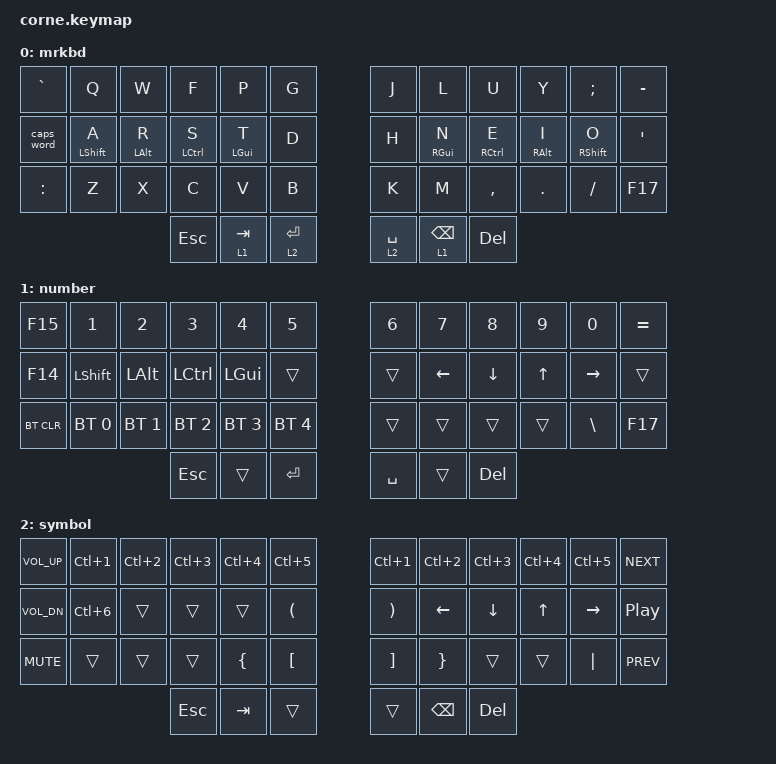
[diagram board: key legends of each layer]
/*
 * Copyright (c) 2020 The ZMK Contributors
 *
 * SPDX-License-Identifier: MIT
 */

#include <behaviors.dtsi>
#include <dt-bindings/zmk/keys.h>
#include <dt-bindings/zmk/bt.h>

&mt {
    quick-tap-ms = <100>;
    flavor = "balanced";
};

/ {
        keymap {
                compatible = "zmk,keymap";

                default_layer {
// -----------------------------------------------------------------------------------------
// |  `  |  Q  |  W  |  F  |  P  |  G  |   |  J  |  L   |  U  |  Y  |  ;  |  - |
// | CAPW|  A  |  R  |  S  |  T  |  D  |   |  H  |  N   |  E  |  I  |  O  |  ' |
// |  :  |  Z  |  X  |  C  |  V  |  B  |   |  K  |  M   |  ,  |  .  |  /  | F17|
//                    | ESC | TAB | ENT |   | SPC | BKSP  | DEL |
                        display-name = "mrkbd";
                        bindings = <
   &kp GRAVE  &kp Q       &kp W      &kp F      &kp P      &kp G   &kp J &kp L      &kp U      &kp Y      &kp SEMI    &kp MINUS
   &caps_word &mt LSHFT A &mt LALT R &mt LCTL S &mt LGUI T &kp D   &kp H &mt RGUI N &mt RCTL E &mt RALT I &mt RSHFT O &kp SQT
   &kp COLON  &kp Z       &kp X      &kp C      &kp V      &kp B   &kp K &kp M      &kp COMMA  &kp DOT    &kp FSLH    &kp F17
                                      &kp ESC &lt 1 TAB &lt 2 RET  &lt 2 SPACE &lt 1 BKSP &kp DEL
                        >;
                };
                lower_layer {
// -----------------------------------------------------------------------------------------
// |  B_UP |   1   |   2  |   3  |   4  |  5  |   |  6  |  7  |  8  |  9  |  0  | EQUAL |
// |  B_DN | LSHFT | LALT | LCTL | LGUI |     |   | LFT | DWN |  UP | RGT |     |       |
// | BT_CLR|  BT0  |  BT1 |  BT2 |  BT3 | BT4 |   |     |     |     |     |  \  | F17   |
//                          | ESC |     | RET |   | SPC |     | DEL |
                        display-name = "number";
                        bindings = <
   &kp F15    &kp N1       &kp N2       &kp N3       &kp N4       &kp N5         &kp N6 &kp N7   &kp N8   &kp N9 &kp N0    &kp EQUAL
   &kp F14    &kp LSHFT    &kp LALT     &kp LCTRL    &kp LGUI     &trans         &trans &kp LEFT &kp DOWN &kp UP &kp RIGHT &trans
   &bt BT_CLR &bt BT_SEL 0 &bt BT_SEL 1 &bt BT_SEL 2 &bt BT_SEL 3 &bt BT_SEL 4   &trans &trans   &trans   &trans &kp BSLH  &kp F17
                          	             &kp ESC     &trans       &kp RET        &kp SPACE  &trans   &kp DEL
                        >;
                };

                raise_layer {
// -----------------------------------------------------------------------------------------
// | V_UP | c-1 | c-2 | c-3 | c-4 | c-5 |   | c-1 | c-2 | c-3 | c-4 | c-5 | NEXT |
// | V_DN | c-6 |     |     |     |  (  |   |  )  | LFT | DWN |  UP | RGT |  PP  |
// | MUTE |     |     |     |  {  |  [  |   |  ]  |  }  |     |     | '|' | PREV |
//                    | ESC | TAB |     |   |     | BKSP | DEL |
                        display-name = "symbol";
                        bindings = <
   &kp C_VOL_UP &kp LC(N1) &kp LC(N2) &kp LC(N3) &kp LC(N4) &kp LC(N5)   &kp LC(N1) &kp LC(N2) &kp LC(N3) &kp LC(N4) &kp LC(N5) &kp C_NEXT
   &kp C_VOL_DN &kp LC(N6) &trans     &trans     &trans     &kp LPAR     &kp RPAR   &kp LEFT   &kp DOWN   &kp UP     &kp RIGHT  &kp C_PP
   &kp C_MUTE   &trans     &trans     &trans     &kp LBRC   &kp LBKT     &kp RBKT   &kp RBRC   &trans     &trans     &kp PIPE   &kp C_PREV
                                          &kp ESC  &kp TAB  &trans       &trans  &kp BKSP  &kp DEL
                        >;
                };

                extra_1 {
                        status = "reserved";
                };

                extra_2 {
                        status = "reserved";
                };

                extra_3 {
                        status = "reserved";
                };
        };
};
